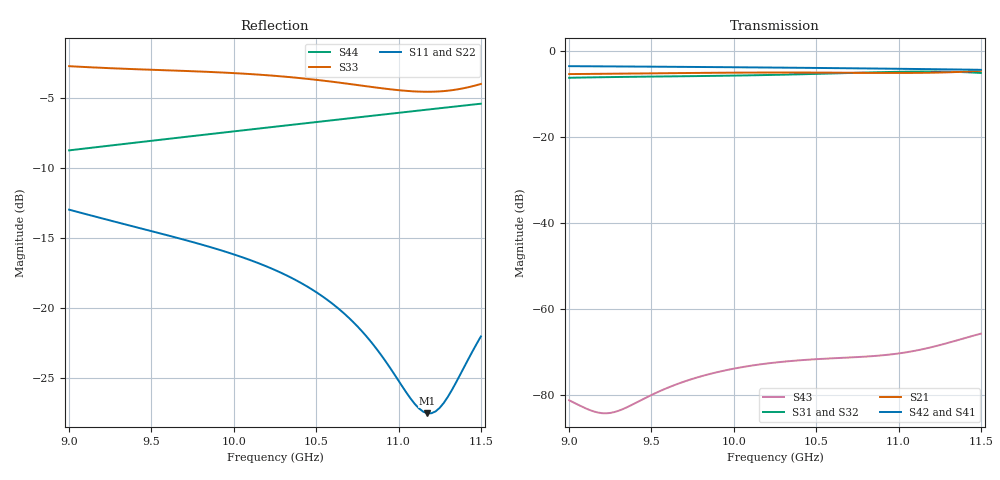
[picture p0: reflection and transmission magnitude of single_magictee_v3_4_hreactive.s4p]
! Touchstone file exported from HFSS 2025.2.4
!  File:  //wsl.localhost/Ubuntu/tmp/hfss-r11/hfss/output_v3_4_jacobian/h_throat_len_minus/single_magictee_v3_4_hreactive.aedt
!  Generated:  03:01:38 PM Sep 22, 2026
!  Design:  SingleMagicT_v3_4_HReactiveCell
!  Project:  single_magictee_v3_4_hreactive
! Variables:
!  f_adapt = 10.2GHz
!  h_cap_height = 9mm
!  h_cap_len = 2.5mm
!  h_terminal_ridge_w = 4.572mm
!  h_throat_a = 20.4mm
!  h_throat_len = 4.5mm
!  ridge_g1 = 7.672mm
!  ridge_g2 = 5.8mm
!  ridge_l1 = 9.872mm
!  ridge_l2 = 8.857mm
!  ridge_w = 4.572mm
!  terminal_ridge_len = 7.5mm
!  wg_a = 22.86mm
!  wg_b = 10.16mm
!Data is not renormalized
# GHz S MA
! Terminal data exported
! Port[1] = P1_CollinearMinusX
! Port[2] = P2_CollinearPlusX
! Port[3] = P3_HArm_Ridged
! Port[4] = P4_EArm
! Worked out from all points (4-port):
!   101 points, 9 GHz to 11.5 GHz, reference per port
!   strongest paths, dB at 9 GHz, 9.625 GHz, 10.25 GHz, 10.88 GHz, 11.5 GHz:
!     S42: -3.6, -3.8, -4.0, -4.2, -4.5
!     S41: -3.6, -3.8, -4.0, -4.2, -4.5
!     S21: -5.5, -5.3, -5.1, -5.2, -4.7
!     S31: -6.3, -6.0, -5.7, -5.0, -5.2
!     S32: -6.3, -6.0, -5.7, -5.1, -5.2
!     S43: -81.3, -78.0, -72.6, -71.0, -65.8
!   lowest |S11| = -27.6 dB at 11.18 GHz (marker M1), VSWR 1.09
!   |S11| at or under -10 dB: start of sweep to end of sweep
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9  0.2242 153.6  0.5327 -173.3  0.4823 67.9  0.6583 46.0
   0.5327 -173.3  0.2245 153.7  0.4824 68.0  0.6581 -134.0
   0.4823 67.9  0.4824 68.0  0.7312 138.9  8.593e-05 82.6
   0.6583 46.0  0.6581 -134.0  8.593e-05 82.6  0.3655 -114.1
9.375  0.1963 113.2  0.5401 145.3  0.4948 16.8  0.6519 3.2
       0.5401 145.3  0.1964 113.4  0.4949 16.9  0.6517 -176.8
       0.4948 16.8  0.4949 16.9  0.7143 76.8  7.494e-05 95.1
       0.6519 3.2  0.6517 -176.8  7.494e-05 95.1  0.3878 -154.5
9.775  0.1701 71.3  0.5491 102.4  0.5047 -36.4  0.6441 -41.0
       0.5491 102.4  0.1699 71.4  0.5048 -36.4  0.6441 139.1
       0.5047 -36.4  0.5048 -36.4  0.7004 11.9  0.0001577 52.2
       0.6441 -41.0  0.6441 139.1  0.0001577 52.2  0.4128 163.5
10.4  0.1234 6.2  0.5549 37.5  0.5295 -118.8  0.6297 -107.7
      0.5549 37.5  0.1224 6.1  0.5293 -118.8  0.63 72.3
      0.5295 -118.8  0.5293 -118.8  0.6629 -89.5  0.0002504 -61.3
      0.6297 -107.7  0.63 72.3  0.0002504 -61.3  0.4544 99.0
10.825  0.07652 -32.7  0.55 -4.1  0.5564 -176.9  0.6181 -152.0
        0.55 -4.1  0.07529 -33.3  0.5559 -176.9  0.6187 28.0
        0.5564 -176.9  0.5559 -176.9  0.6175 -166.3  0.0002785 -159.0
        0.6181 -152.0  0.6187 28.0  0.0002785 -159.0  0.4849 55.8
11.175  0.04192 -25.9  0.5517 -35.7  0.5701 131.7  0.6073 172.0
        0.5517 -35.7  0.04017 -26.3  0.5694 131.7  0.6081 -8.0
        0.5701 131.7  0.5694 131.7  0.5922 118.5  0.0003466 104.5
        0.6073 172.0  0.6081 -8.0  0.0003466 104.5  0.5113 20.4
11.5  0.07895 -11.5  0.5809 -63.6  0.5486 80.5  0.5961 138.7
      0.5809 -63.6  0.07707 -11.0  0.5478 80.6  0.5971 -41.3
      0.5486 80.5  0.5478 80.6  0.6316 39.1  0.0005112 15.8
      0.5961 138.7  0.5971 -41.3  0.0005112 15.8  0.5368 -12.4
